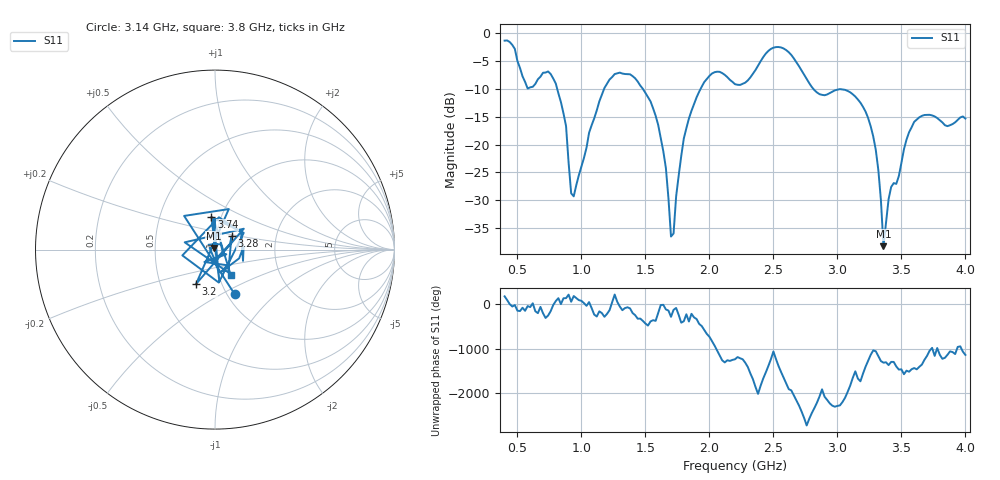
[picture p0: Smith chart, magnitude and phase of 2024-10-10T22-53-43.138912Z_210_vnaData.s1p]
! Created with skrf (http://scikit-rf.org).
# Hz S RI R 50.0
!freq ReS11 ImS11
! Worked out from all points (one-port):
!   181 points, 400 MHz to 4 GHz, reference 50 ohm
!   lowest |S11| = -38.3 dB at 3.36 GHz (marker M1), VSWR 1.02, Z = 49.3 + j0.967 ohm
!   |S11| at or under -10 dB: 811.3 MHz to 1.177 GHz (365.5 MHz wide, 36.8 % of centre); 1.481 GHz to 1.931 GHz (449.5 MHz wide, 26.4 % of centre); 2.813 GHz to end of sweep
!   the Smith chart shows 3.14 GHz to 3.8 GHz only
!   S11 on the Smith chart (normalised r, x): 3.14 GHz: 1.08, -0.58; 3.2 GHz: 0.76, -0.30; 3.28 GHz: 1.19, +0.18; 3.74 GHz: 0.90, +0.34; 3.8 GHz: 1.14, -0.33
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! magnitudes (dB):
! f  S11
! 400 MHz  -1.3
! 580 MHz  -9.9
! 760 MHz  -7.3
! 860 MHz  -14.4
! 940 MHz  -29.3
! 1.14 GHz  -12.2
! 1.3 GHz  -7.0
! 1.58 GHz  -14.8
! 1.66 GHz  -24.2
! 1.7 GHz  -36.5
! 1.76 GHz  -25.6
! 1.84 GHz  -15.3
! 1.96 GHz  -8.7
! 2.2 GHz  -9.1
! 2.5 GHz  -2.6
! 2.66 GHz  -4.5
! 2.86 GHz  -10.9
! 3.1 GHz  -10.6
! 3.14 GHz  -11.4
! 3.2 GHz  -13.2
! 3.28 GHz  -18.5
! 3.32 GHz  -24.6
! 3.36 GHz  -38.3
! 3.42 GHz  -27.6
! 3.56 GHz  -17.8
! 3.74 GHz  -14.7
! 3.8 GHz  -15.6
! 4 GHz  -15.3
